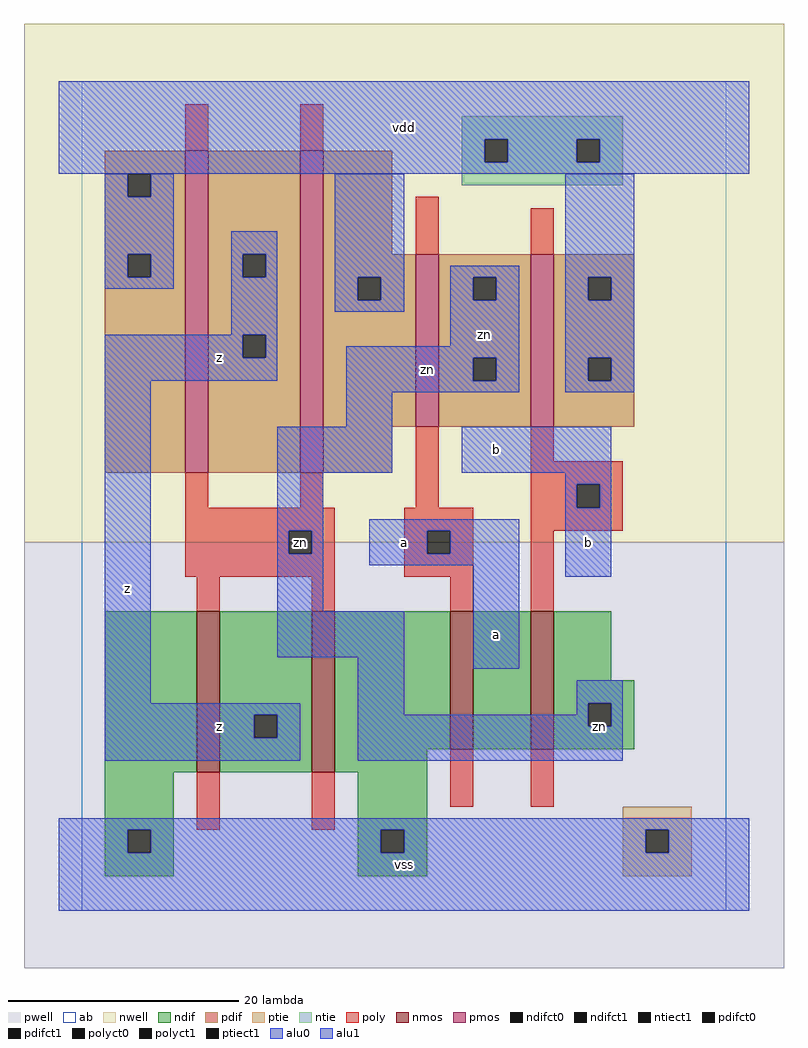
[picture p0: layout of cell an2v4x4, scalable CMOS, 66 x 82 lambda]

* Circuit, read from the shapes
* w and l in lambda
.subckt an2v4x4 a b vdd vss z zn
M1 z zn vss vss nfet w=14 l=2 m=2
M2 n1 a vss vss nfet w=12 l=2
M3 zn b n1 vss nfet w=12 l=2
M4 z zn vdd vdd pfet w=28 l=2 m=2
M5 zn a vdd vdd pfet w=15 l=2
M6 vdd b zn vdd pfet w=15 l=2
.ends

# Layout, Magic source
magic
tech scmos
<< ab >>
rect 0 0 56 72
<< nwell >>
rect -5 32 61 77
<< pwell >>
rect -5 -5 61 32
<< poly >>
rect 9 66 11 70
rect 19 66 21 70
rect 29 57 31 62
rect 39 57 41 61
rect 9 35 11 38
rect 19 35 21 38
rect 29 35 31 42
rect 39 39 41 42
rect 39 37 47 39
rect 39 35 43 37
rect 45 35 47 37
rect 9 33 22 35
rect 9 31 18 33
rect 20 31 22 33
rect 9 29 22 31
rect 28 33 34 35
rect 28 31 30 33
rect 32 31 34 33
rect 28 29 34 31
rect 10 26 12 29
rect 20 26 22 29
rect 32 26 34 29
rect 39 33 47 35
rect 39 26 41 33
rect 10 7 12 12
rect 20 7 22 12
rect 32 9 34 14
rect 39 9 41 14
<< ndif >>
rect 2 12 10 26
rect 12 17 20 26
rect 12 15 15 17
rect 17 15 20 17
rect 12 12 20 15
rect 22 14 32 26
rect 34 14 39 26
rect 41 20 46 26
rect 41 18 48 20
rect 41 16 44 18
rect 46 16 48 18
rect 41 14 48 16
rect 22 12 30 14
rect 2 7 8 12
rect 24 7 30 12
rect 2 5 4 7
rect 6 5 8 7
rect 2 3 8 5
rect 24 5 26 7
rect 28 5 30 7
rect 24 3 30 5
<< pdif >>
rect 2 64 9 66
rect 2 62 4 64
rect 6 62 9 64
rect 2 57 9 62
rect 2 55 4 57
rect 6 55 9 57
rect 2 38 9 55
rect 11 57 19 66
rect 11 55 14 57
rect 16 55 19 57
rect 11 50 19 55
rect 11 48 14 50
rect 16 48 19 50
rect 11 38 19 48
rect 21 57 27 66
rect 21 55 29 57
rect 21 53 24 55
rect 26 53 29 55
rect 21 42 29 53
rect 31 55 39 57
rect 31 53 34 55
rect 36 53 39 55
rect 31 48 39 53
rect 31 46 34 48
rect 36 46 39 48
rect 31 42 39 46
rect 41 55 48 57
rect 41 53 44 55
rect 46 53 48 55
rect 41 48 48 53
rect 41 46 44 48
rect 46 46 48 48
rect 41 42 48 46
rect 21 38 27 42
<< alu1 >>
rect -2 67 58 72
rect -2 65 35 67
rect 37 65 43 67
rect 45 65 58 67
rect -2 64 58 65
rect 13 57 17 59
rect 13 55 14 57
rect 16 55 17 57
rect 13 50 17 55
rect 2 48 14 50
rect 16 48 17 50
rect 2 46 17 48
rect 2 18 6 46
rect 33 38 46 42
rect 42 37 46 38
rect 42 35 43 37
rect 45 35 46 37
rect 25 33 38 34
rect 25 31 30 33
rect 32 31 38 33
rect 25 30 38 31
rect 2 17 19 18
rect 2 15 15 17
rect 17 15 19 17
rect 2 13 19 15
rect 34 21 38 30
rect 42 29 46 35
rect -2 7 58 8
rect -2 5 4 7
rect 6 5 26 7
rect 28 5 49 7
rect 51 5 58 7
rect -2 0 58 5
<< ptie >>
rect 47 7 53 9
rect 47 5 49 7
rect 51 5 53 7
rect 47 3 53 5
<< ntie >>
rect 33 67 47 69
rect 33 65 35 67
rect 37 65 43 67
rect 45 65 47 67
rect 33 63 47 65
<< nmos >>
rect 10 12 12 26
rect 20 12 22 26
rect 32 14 34 26
rect 39 14 41 26
<< pmos >>
rect 9 38 11 66
rect 19 38 21 66
rect 29 42 31 57
rect 39 42 41 57
<< polyct0 >>
rect 18 31 20 33
<< polyct1 >>
rect 43 35 45 37
rect 30 31 32 33
<< ndifct0 >>
rect 44 16 46 18
<< ndifct1 >>
rect 15 15 17 17
rect 4 5 6 7
rect 26 5 28 7
<< ntiect1 >>
rect 35 65 37 67
rect 43 65 45 67
<< ptiect1 >>
rect 49 5 51 7
<< pdifct0 >>
rect 4 62 6 64
rect 4 55 6 57
rect 24 53 26 55
rect 34 53 36 55
rect 34 46 36 48
rect 44 53 46 55
rect 44 46 46 48
<< pdifct1 >>
rect 14 55 16 57
rect 14 48 16 50
<< alu0 >>
rect 2 62 4 64
rect 6 62 8 64
rect 2 57 8 62
rect 2 55 4 57
rect 6 55 8 57
rect 2 54 8 55
rect 22 55 28 64
rect 22 53 24 55
rect 26 53 28 55
rect 22 52 28 53
rect 32 55 38 56
rect 32 53 34 55
rect 36 53 38 55
rect 32 49 38 53
rect 23 48 38 49
rect 23 46 34 48
rect 36 46 38 48
rect 23 45 38 46
rect 42 55 48 64
rect 42 53 44 55
rect 46 53 48 55
rect 42 48 48 53
rect 42 46 44 48
rect 46 46 48 48
rect 42 45 48 46
rect 23 42 27 45
rect 17 38 27 42
rect 17 33 21 38
rect 17 31 18 33
rect 20 31 21 33
rect 17 26 21 31
rect 17 22 28 26
rect 24 17 28 22
rect 43 18 47 20
rect 43 17 44 18
rect 24 16 44 17
rect 46 16 47 18
rect 24 13 47 16
<< labels >>
rlabel polyct0 19 32 19 32 6 zn
rlabel alu0 30 47 30 47 6 zn
rlabel alu0 35 50 35 50 6 zn
rlabel alu0 45 16 45 16 6 zn
rlabel alu1 4 28 4 28 6 z
rlabel alu1 12 16 12 16 6 z
rlabel alu1 12 48 12 48 6 z
rlabel alu1 28 4 28 4 6 vss
rlabel alu1 28 32 28 32 6 a
rlabel alu1 36 24 36 24 6 a
rlabel alu1 36 40 36 40 6 b
rlabel alu1 28 68 28 68 6 vdd
rlabel alu1 44 32 44 32 6 b
<< end >>
